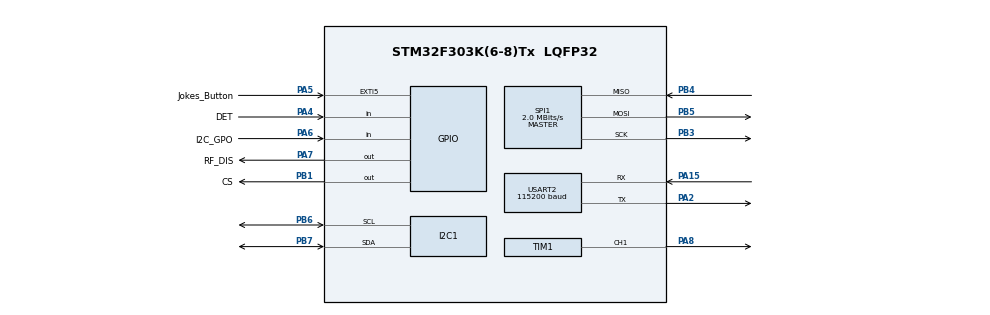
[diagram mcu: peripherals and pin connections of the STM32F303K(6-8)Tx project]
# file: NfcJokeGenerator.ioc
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Dma.I2C1_TX.0.Direction=DMA_MEMORY_TO_PERIPH
Dma.I2C1_TX.0.Instance=DMA1_Channel4
Dma.I2C1_TX.0.MemDataAlignment=DMA_MDATAALIGN_BYTE
Dma.I2C1_TX.0.MemInc=DMA_MINC_ENABLE
Dma.I2C1_TX.0.Mode=DMA_CIRCULAR
Dma.I2C1_TX.0.PeriphDataAlignment=DMA_PDATAALIGN_BYTE
Dma.I2C1_TX.0.PeriphInc=DMA_PINC_DISABLE
Dma.I2C1_TX.0.Priority=DMA_PRIORITY_LOW
Dma.Request0=I2C1_TX
Dma.Request1=USART2_TX
Dma.Request2=TIM1_CH1
Dma.TIM1_CH1.2.Direction=DMA_MEMORY_TO_PERIPH
Dma.TIM1_CH1.2.Instance=DMA1_Channel2
Dma.TIM1_CH1.2.MemDataAlignment=DMA_MDATAALIGN_BYTE
Dma.TIM1_CH1.2.MemInc=DMA_MINC_ENABLE
Dma.TIM1_CH1.2.Mode=DMA_NORMAL
Dma.TIM1_CH1.2.PeriphDataAlignment=DMA_PDATAALIGN_HALFWORD
Dma.TIM1_CH1.2.PeriphInc=DMA_PINC_DISABLE
Dma.TIM1_CH1.2.Priority=DMA_PRIORITY_LOW
Dma.USART2_TX.1.Direction=DMA_MEMORY_TO_PERIPH
Dma.USART2_TX.1.Instance=DMA1_Channel7
Dma.USART2_TX.1.MemDataAlignment=DMA_MDATAALIGN_BYTE
Dma.USART2_TX.1.MemInc=DMA_MINC_ENABLE
Dma.USART2_TX.1.Mode=DMA_NORMAL
Dma.USART2_TX.1.PeriphDataAlignment=DMA_PDATAALIGN_BYTE
Dma.USART2_TX.1.PeriphInc=DMA_PINC_DISABLE
Dma.USART2_TX.1.Priority=DMA_PRIORITY_LOW
I2C1.Timing=0x00201D2B
Mcu.Family=STM32F3
Mcu.Name=STM32F303K(6-8)Tx
Mcu.Package=LQFP32
NVIC.DMA1_Channel2_IRQn=true\:0\:0\:false\:false\:true\:false\:true\:true
NVIC.DMA1_Channel4_IRQn=true\:0\:0\:false\:false\:true\:false\:true\:true
NVIC.DMA1_Channel7_IRQn=true\:0\:0\:false\:false\:true\:false\:true\:true
NVIC.EXTI9_5_IRQn=true\:0\:0\:false\:false\:true\:true\:true\:true
NVIC.I2C1_EV_IRQn=true\:0\:0\:false\:false\:true\:true\:true\:true
NVIC.PriorityGroup=NVIC_PRIORITYGROUP_4
NVIC.USART2_IRQn=true\:0\:0\:false\:false\:true\:true\:true\:true
NimaLTD.I-CUBE-WS28XX.3.0.1.DriverJjWS28XX=true
NimaLTD.I-CUBE-WS28XX.3.0.1.WS28XX_PIXEL_MAX=8
NimaLTD.I-CUBE-WS28XX.3.0.1.WS28XX_PULSE_0_NS=300
NimaLTD.I-CUBE-WS28XX.3.0.1.WS28XX_PULSE_1_NS=700
PA15.Mode=Asynchronous
PA15.Signal=USART2_RX
PA2.Mode=Asynchronous
PA2.Signal=USART2_TX
PA4.GPIO_Label=DET
PA4.Signal=GPIO_Input
<<<<<<< HEAD
PA5.GPIO_Label=Jokes_Button
=======
PA5.GPIO_Label=Jokes_Button
PA5.GPIO_ModeDefaultEXTI=GPIO_MODE_IT_RISING
>>>>>>> devel1
PA5.GPIO_PuPd=GPIO_PULLUP
PA5.Signal=GPXTI5
PA6.GPIO_Label=I2C_GPO
PA6.Signal=GPIO_Input
PA7.GPIO_Label=RF_DIS
PA7.Signal=GPIO_Output
PA8.Signal=S_TIM1_CH1
PB1.GPIO_Label=CS
PB1.GPIO_PuPd=GPIO_PULLUP
PB1.GPIO_Speed=GPIO_SPEED_FREQ_LOW
PB1.PinState=GPIO_PIN_SET
PB1.Signal=GPIO_Output
PB3.GPIO_PuPd=GPIO_PULLUP
PB3.Mode=Full_Duplex_Master
PB3.Signal=SPI1_SCK
PB4.GPIO_PuPd=GPIO_PULLUP
PB4.Mode=Full_Duplex_Master
PB4.Signal=SPI1_MISO
PB5.GPIO_PuPd=GPIO_PULLUP
PB5.Mode=Full_Duplex_Master
PB5.Signal=SPI1_MOSI
PB6.Mode=I2C
PB6.Signal=I2C1_SCL
PB7.Mode=I2C
PB7.Signal=I2C1_SDA
ProjectManager.HeapSize=0x200
ProjectManager.StackSize=0x400
ProjectManager.TargetToolchain=STM32CubeIDE
RCC.AHBFreq_Value=64000000
RCC.APB1CLKDivider=RCC_HCLK_DIV2
RCC.APB1Freq_Value=32000000
RCC.APB1TimFreq_Value=64000000
RCC.APB2Freq_Value=64000000
RCC.APB2TimFreq_Value=64000000
RCC.CortexFreq_Value=64000000
RCC.HCLKFreq_Value=64000000
RCC.HSE_VALUE=8000000
RCC.HSI_VALUE=8000000
RCC.PLLMUL=RCC_PLL_MUL16
RCC.SYSCLKFreq_VALUE=64000000
RCC.SYSCLKSourceVirtual=RCC_SYSCLKSOURCE_PLLCLK
SH.S_TIM1_CH1.0=TIM1_CH1,PWM Generation1 CH1
SPI1.BaudRatePrescaler=SPI_BAUDRATEPRESCALER_32
SPI1.CalculateBaudRate=2.0 MBits/s
SPI1.DataSize=SPI_DATASIZE_8BIT
SPI1.Direction=SPI_DIRECTION_2LINES
SPI1.Mode=SPI_MODE_MASTER
SPI1.VirtualType=VM_MASTER
TIM1.Channel-PWM\ Generation1\ CH1=TIM_CHANNEL_1
USART2.BaudRate=115200
USART2.VirtualMode-Asynchronous=VM_ASYNC
VP_FATFS_VS_Generic.Mode=User_defined
VP_NimaLTD.I-CUBE-WS28XX_VS_DriverJjWS28XX_1.0.0_3.0.1.Mode=DriverJjWS28XX
VP_TIM1_VS_ClockSourceINT.Mode=Internal
board=custom

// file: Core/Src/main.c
/* USER CODE BEGIN Header */
/**
  ******************************************************************************
  * @file           : main.c
  * @brief          : Main program body
  ******************************************************************************
  * @attention
  *
  * Copyright (c) 2024 STMicroelectronics.
  * All rights reserved.
  *
  * This software is licensed under terms that can be found in the LICENSE file
  * in the root directory of this software component.
  * If no LICENSE file comes with this software, it is provided AS-IS.
  *
  ******************************************************************************
  */
/* USER CODE END Header */
#include "main.h"
#include "dma.h"
#include "fatfs.h"
#include "i2c.h"
#include "spi.h"
#include "tim.h"
#include "usart.h"
#include "gpio.h"

#include "nfc_io.h"

/* USER CODE BEGIN PD */
uint8_t numOfSamps = 0;

uint8_t pushButton = 0;
uint32_t lastDebounceTime = 0;
/* USER CODE END PD */

void SystemClock_Config(void);

int main(void)
{

  /* MCU Configuration--------------------------------------------------------*/

  /* Reset of all peripherals, Initializes the Flash interface and the Systick. */
  HAL_Init();

  /* Configure the system clock */
  SystemClock_Config();

  /* Initialize all configured peripherals */
  MX_GPIO_Init();
  MX_DMA_Init();
  MX_SPI1_Init();
  MX_FATFS_Init();
  MX_I2C1_Init();
  MX_USART2_UART_Init();
  MX_TIM1_Init();
  /* USER CODE BEGIN 2 */
  //  sdCardInit();

  ledInit();

  char joke[300];
  char msg[250];

  srand(time(NULL));

  M24SR_Init(NFC_WRITE, M24SR_GPO_POLLING);
  M24SR_ManageRFGPO(NFC_WRITE, 1);

  /* USER CODE END 2 */

  /* Infinite loop */
  /* USER CODE BEGIN WHILE */
  while (1)
  {

     if (LL_GPIO_IsInputPinSet(I2C_GPO_GPIO_Port, I2C_GPO_Pin)){
    	 ledLight(pushButton);
    	 LL_mDelay(50);

     } else {
    	 ledSendAnimation();
    	  sdCardInit(pushButton);

    	 readRandomJokes(pushButton, joke);
  	  	 //sprintf(msg, "vtip:%s\r\n", joke);
  	  	 //USART2_PutBuffer(msg, strlen(msg));
  	  	 //LL_mDelay(250);

  	  	 uint8_t ndef[strlen(joke)+13];
         convert_to_NDEF(&joke, &ndef);
  	  	 //sprintf(msg, "%s size(strlen): %d size sizeof: %d\r\n", joke, strlen(joke), sizeof(joke));
  	  	 //USART2_PutBuffer(msg, strlen(msg));
  	  	 //LL_mDelay(150);
  	  	 Write_Joke_TO_NFC(&ndef, sizeof(ndef));
  	  	 LL_mDelay(150);

     }
    /* USER CODE END WHILE */

  }
}

void SystemClock_Config(void)
{
  LL_FLASH_SetLatency(LL_FLASH_LATENCY_2);
  while(LL_FLASH_GetLatency()!= LL_FLASH_LATENCY_2)
  {
  }
  LL_RCC_HSI_Enable();

   /* Wait till HSI is ready */
  while(LL_RCC_HSI_IsReady() != 1)
  {

  }
  LL_RCC_HSI_SetCalibTrimming(16);
  LL_RCC_PLL_ConfigDomain_SYS(LL_RCC_PLLSOURCE_HSI_DIV_2, LL_RCC_PLL_MUL_16);
  LL_RCC_PLL_Enable();

   /* Wait till PLL is ready */
  while(LL_RCC_PLL_IsReady() != 1)
  {

  }
  LL_RCC_SetAHBPrescaler(LL_RCC_SYSCLK_DIV_1);
  LL_RCC_SetAPB1Prescaler(LL_RCC_APB1_DIV_2);
  LL_RCC_SetAPB2Prescaler(LL_RCC_APB2_DIV_1);
  LL_RCC_SetSysClkSource(LL_RCC_SYS_CLKSOURCE_PLL);

   /* Wait till System clock is ready */
  while(LL_RCC_GetSysClkSource() != LL_RCC_SYS_CLKSOURCE_STATUS_PLL)
  {

  }
  LL_SetSystemCoreClock(64000000);

   /* Update the time base */
  if (HAL_InitTick (TICK_INT_PRIORITY) != HAL_OK)
  {
    Error_Handler();
  }
  LL_RCC_SetI2CClockSource(LL_RCC_I2C1_CLKSOURCE_HSI);
  LL_RCC_SetTIMClockSource(LL_RCC_TIM1_CLKSOURCE_PCLK2);
}

void Error_Handler(void)
{
  __disable_irq();
  while (1)
  {
  }
}
